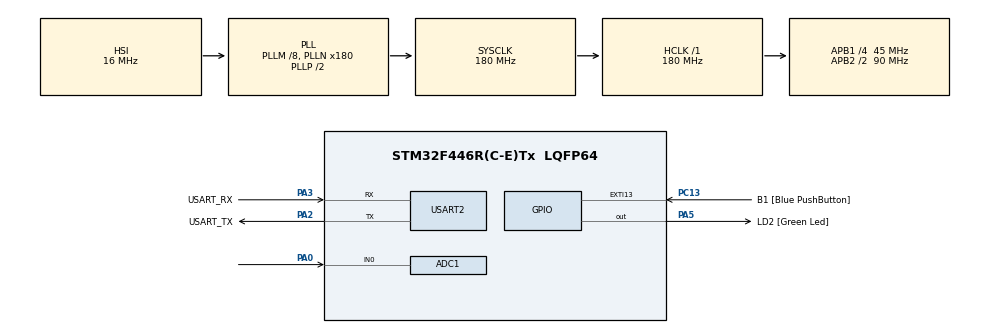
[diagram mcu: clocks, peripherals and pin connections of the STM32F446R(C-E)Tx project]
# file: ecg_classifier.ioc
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ADC1.Channel-1\#ChannelRegularConversion=ADC_CHANNEL_0
ADC1.NbrOfConversionFlag=1
ADC1.Rank-1\#ChannelRegularConversion=1
ADC1.SamplingTime-1\#ChannelRegularConversion=ADC_SAMPLETIME_56CYCLES
ADC1.master=1
Mcu.Family=STM32F4
Mcu.Name=STM32F446R(C-E)Tx
Mcu.Package=LQFP64
NVIC.PriorityGroup=NVIC_PRIORITYGROUP_0
NVIC.TIM2_IRQn=true\:0\:0\:false\:false\:true\:true\:true\:true
PA0-WKUP.Signal=ADCx_IN0
PA13.GPIO_Label=TMS
PA13.Mode=Serial_Wire
PA13.Signal=SYS_JTMS-SWDIO
PA14.GPIO_Label=TCK
PA14.Mode=Serial_Wire
PA14.Signal=SYS_JTCK-SWCLK
PA2.GPIO_Label=USART_TX
PA2.Mode=Asynchronous
PA2.Signal=USART2_TX
PA3.GPIO_Label=USART_RX
PA3.Mode=Asynchronous
PA3.Signal=USART2_RX
PA5.GPIO_Label=LD2 [Green Led]
PA5.Signal=GPIO_Output
PB3.GPIO_Label=SWO
PB3.Signal=SYS_JTDO-SWO
PC13.GPIO_Label=B1 [Blue PushButton]
PC13.GPIO_ModeDefaultEXTI=GPIO_MODE_IT_FALLING
PC13.Signal=GPXTI13
PC14-OSC32_IN.Mode=LSE-External-Oscillator
PC14-OSC32_IN.Signal=RCC_OSC32_IN
PC15-OSC32_OUT.Mode=LSE-External-Oscillator
PC15-OSC32_OUT.Signal=RCC_OSC32_OUT
PH0-OSC_IN.Mode=HSE-External-Oscillator
PH0-OSC_IN.Signal=RCC_OSC_IN
PH1-OSC_OUT.Mode=HSE-External-Oscillator
PH1-OSC_OUT.Signal=RCC_OSC_OUT
ProjectManager.HeapSize=0x800
ProjectManager.StackSize=0x800
ProjectManager.TargetToolchain=STM32CubeIDE
RCC.48MHZClocksFreq_Value=84000000
RCC.AHBFreq_Value=180000000
RCC.APB1CLKDivider=RCC_HCLK_DIV4
RCC.APB1Freq_Value=45000000
RCC.APB1TimFreq_Value=90000000
RCC.APB2CLKDivider=RCC_HCLK_DIV2
RCC.APB2Freq_Value=90000000
RCC.APB2TimFreq_Value=180000000
RCC.CortexFreq_Value=180000000
RCC.FLatency-AdvancedSettings=FLASH_LATENCY_5
RCC.HCLKFreq_Value=180000000
RCC.HSE_VALUE=8000000
RCC.HSI_VALUE=16000000
RCC.PLLM=8
RCC.PLLN=180
RCC.PLLP=2
RCC.SYSCLKFreq_VALUE=180000000
RCC.SYSCLKSource=RCC_SYSCLKSOURCE_PLLCLK
RCC.USBFreq_Value=180000000
RCC.VCOOutputFreq_Value=360000000
SH.ADCx_IN0.0=ADC1_IN0,IN0
STMicroelectronics.X-CUBE-AI.10.2.0.ActivationBufferSizeList=30988
STMicroelectronics.X-CUBE-AI.10.2.0.ActivationBuffers=pool0
STMicroelectronics.X-CUBE-AI.10.2.0.ActivationNames=pool0
STMicroelectronics.X-CUBE-AI.10.2.0.ActivationSizes=AI_NETWORK_DATA_ACTIVATION_1_SIZE
STMicroelectronics.X-CUBE-AI.10.2.0.ApplicationCcDeviceJjApplication=ApplicationTemplate
STMicroelectronics.X-CUBE-AI.10.2.0.HeapSize=0x800
STMicroelectronics.X-CUBE-AI.10.2.0.InternalRamActivationBufferMaxSize=AI_NETWORK_DATA_ACTIVATIONS_SIZE
STMicroelectronics.X-CUBE-AI.10.2.0.LatestDirectoryUsed-63dacd22c9f971d1989176049838c627b8f9a772a81837ebe27244d50796df3d=C\:\\Intel\\ecg-arrhythmia-classifier\\results
STMicroelectronics.X-CUBE-AI.10.2.0.MaximumNumberOfInputLayer=1
STMicroelectronics.X-CUBE-AI.10.2.0.MaximumNumberOfOutputLayer=1
STMicroelectronics.X-CUBE-AI.10.2.0.MaximumSizeOfInputLayer=1
STMicroelectronics.X-CUBE-AI.10.2.0.MaximumSizeOfOutputLayer=1
STMicroelectronics.X-CUBE-AI.10.2.0.ModelActualCompression-63dacd22c9f971d1989176049838c627b8f9a772a81837ebe27244d50796df3d=0.0
STMicroelectronics.X-CUBE-AI.10.2.0.ModelCompression-63dacd22c9f971d1989176049838c627b8f9a772a81837ebe27244d50796df3d=None
STMicroelectronics.X-CUBE-AI.10.2.0.ModelFlashOccupation-63dacd22c9f971d1989176049838c627b8f9a772a81837ebe27244d50796df3d=486656
STMicroelectronics.X-CUBE-AI.10.2.0.ModelHashList=63dacd22c9f971d1989176049838c627b8f9a772a81837ebe27244d50796df3d
STMicroelectronics.X-CUBE-AI.10.2.0.ModelKind-63dacd22c9f971d1989176049838c627b8f9a772a81837ebe27244d50796df3d=ONNX
STMicroelectronics.X-CUBE-AI.10.2.0.ModelMacc-63dacd22c9f971d1989176049838c627b8f9a772a81837ebe27244d50796df3d=5728613
STMicroelectronics.X-CUBE-AI.10.2.0.ModelName-63dacd22c9f971d1989176049838c627b8f9a772a81837ebe27244d50796df3d=network
STMicroelectronics.X-CUBE-AI.10.2.0.ModelNameList=network
STMicroelectronics.X-CUBE-AI.10.2.0.ModelRamOccupation-63dacd22c9f971d1989176049838c627b8f9a772a81837ebe27244d50796df3d=30988
STMicroelectronics.X-CUBE-AI.10.2.0.ModelStructureFile-63dacd22c9f971d1989176049838c627b8f9a772a81837ebe27244d50796df3d=/C\:/Intel/ecg-arrhythmia-classifier/results/ecg_model_v2.onnx
STMicroelectronics.X-CUBE-AI.10.2.0.ModelType-63dacd22c9f971d1989176049838c627b8f9a772a81837ebe27244d50796df3d=STM32Cube.AI MCU runtime
STMicroelectronics.X-CUBE-AI.10.2.0.ReadyForCodeGeneration=true
STMicroelectronics.X-CUBE-AI.10.2.0.StackSize=0x800
STMicroelectronics.X-CUBE-AI.10.2.0.WorkingBufferStartAddrList=0xFFFFFFFF
STMicroelectronics.X-CUBE-AI.10.2.0.XAaCUBEAaAICcArtificialOoIntelligenceJjCore=true
STMicroelectronics.X-CUBE-AI.10.2.0.copyWeightToRam=false
STMicroelectronics.X-CUBE-AI.10.2.0.copyWeightToRam-63dacd22c9f971d1989176049838c627b8f9a772a81837ebe27244d50796df3d=false
STMicroelectronics.X-CUBE-AI.10.2.0.customLayerConfigEnabled=false
STMicroelectronics.X-CUBE-AI.10.2.0.customLayerConfigEnabled-63dacd22c9f971d1989176049838c627b8f9a772a81837ebe27244d50796df3d=false
STMicroelectronics.X-CUBE-AI.10.2.0.noOnnxIoTranspose=false
STMicroelectronics.X-CUBE-AI.10.2.0.noOnnxIoTranspose-63dacd22c9f971d1989176049838c627b8f9a772a81837ebe27244d50796df3d=false
STMicroelectronics.X-CUBE-AI.10.2.0.useInputAllocation=true
STMicroelectronics.X-CUBE-AI.10.2.0.useInputAllocation-63dacd22c9f971d1989176049838c627b8f9a772a81837ebe27244d50796df3d=true
STMicroelectronics.X-CUBE-AI.10.2.0.useOutputAllocation=true
STMicroelectronics.X-CUBE-AI.10.2.0.useOutputAllocation-63dacd22c9f971d1989176049838c627b8f9a772a81837ebe27244d50796df3d=true
TIM2.Period=999
TIM2.Prescaler=249
USART2.VirtualMode=VM_ASYNC
VP_STMicroelectronics.X-CUBE-AI_VS_ArtificialOoIntelligenceJjXAaCUBEAaAI_10.2.0.Mode=ArtificialOoIntelligenceJjXAaCUBEAaAI
VP_STMicroelectronics.X-CUBE-AI_VS_DeviceJjApplication_10.2.0.Mode=DeviceJjApplication
VP_TIM2_VS_ClockSourceINT.Mode=Internal
board=NUCLEO-F446RE

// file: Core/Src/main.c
/* USER CODE BEGIN Header */
/**
  ******************************************************************************
  * @file           : main.c
  * @brief          : Main program body
  ******************************************************************************
  * @attention
  *
  * Copyright (c) 2026 STMicroelectronics.
  * All rights reserved.
  *
  * This software is licensed under terms that can be found in the LICENSE file
  * in the root directory of this software component.
  * If no LICENSE file comes with this software, it is provided AS-IS.
  *
  ******************************************************************************
  */
/* USER CODE END Header */
#include "main.h"
#include "app_x-cube-ai.h"

/* USER CODE BEGIN Includes */
#include <string.h>
#include <stdio.h>
#include <math.h>
/* USER CODE END Includes */

ADC_HandleTypeDef hadc1;

TIM_HandleTypeDef htim2;

UART_HandleTypeDef huart2;

/* USER CODE BEGIN PV */
#define BEAT_SIZE  360
#define BEAT_HALF  180
#define CIRC_SIZE  512
#define CIRC_MASK  (CIRC_SIZE - 1)

float ecg_buffer[BEAT_SIZE];
volatile uint8_t beat_ready = 0;

static float    circ_buf[CIRC_SIZE];
static uint16_t circ_head = 0;

/* Pan-Tompkins state */
static float   pt_d[5];
static float   pt_mwi_buf[30];
static float   pt_mwi_sum        = 0.0f;
static uint8_t pt_mwi_idx        = 0;
static float   pt_threshold      = 0.04f;
static float   pt_peak           = 0.08f;
static float   pt_prev           = 0.0f;
static int16_t pt_refractory     = 0;
static uint8_t r_peak_found      = 0;
static int16_t samples_after_peak = 0;
static uint16_t r_peak_pos       = 0;
/* USER CODE END PV */

void SystemClock_Config(void);
static void MX_GPIO_Init(void);
static void MX_USART2_UART_Init(void);
static void MX_ADC1_Init(void);
static void MX_TIM2_Init(void);

/* USER CODE BEGIN 0 */
void HAL_TIM_PeriodElapsedCallback(TIM_HandleTypeDef *htim)
{
  if (htim->Instance == TIM2)
  {
    HAL_ADC_Start(&hadc1);
    HAL_ADC_PollForConversion(&hadc1, 10);
    float sample = (float)HAL_ADC_GetValue(&hadc1) / 4095.0f;

    circ_buf[circ_head] = sample;

    /* Pan-Tompkins derivative: y = (2x[n] + x[n-1] - x[n-3] - 2x[n-4]) / 8 */
    float deriv = (2.0f*pt_d[0] + pt_d[1] - pt_d[3] - 2.0f*pt_d[4]) / 8.0f;
    pt_d[4] = pt_d[3]; pt_d[3] = pt_d[2];
    pt_d[2] = pt_d[1]; pt_d[1] = pt_d[0];
    pt_d[0] = sample;

    /* Square + 30-sample moving window integration */
    float sq = deriv * deriv;
    pt_mwi_sum += sq - pt_mwi_buf[pt_mwi_idx];
    pt_mwi_buf[pt_mwi_idx] = sq;
    pt_mwi_idx = (pt_mwi_idx + 1) % 30;
    float mwi = pt_mwi_sum / 30.0f;

    if (pt_refractory > 0) pt_refractory--;

    /* R-peak: local maximum above threshold, outside refractory period */
    if (!r_peak_found && !beat_ready)
    {
      if ((pt_prev >= pt_threshold) && (pt_refractory == 0) && (mwi < pt_prev))
      {
        r_peak_found       = 1;
        r_peak_pos         = (circ_head - 1 + CIRC_SIZE) & CIRC_MASK;
        samples_after_peak = 0;
        if (pt_prev > pt_peak) pt_peak = pt_prev;
        pt_threshold  = pt_peak * 0.5f;
        pt_refractory = 72;  /* 200 ms at 360 Hz */
      }
      else if (mwi < pt_threshold)
      {
        pt_threshold -= pt_threshold * 0.008f;  /* slow decay toward noise floor */
      }
    }
    pt_prev = mwi;

    /* After R-peak, wait BEAT_HALF samples then extract centered window */
    if (r_peak_found)
    {
      if (++samples_after_peak >= BEAT_HALF)
      {
        uint16_t start = (r_peak_pos - BEAT_HALF + 1 + CIRC_SIZE) & CIRC_MASK;
        for (int i = 0; i < BEAT_SIZE; i++)
          ecg_buffer[i] = circ_buf[(start + i) & CIRC_MASK];

        /* Z-score normalize — must match training: (beat - mean) / std */
        float mean = 0.0f, std = 0.0f;
        for (int i = 0; i < BEAT_SIZE; i++) mean += ecg_buffer[i];
        mean /= BEAT_SIZE;
        for (int i = 0; i < BEAT_SIZE; i++) { float d = ecg_buffer[i] - mean; std += d * d; }
        std = sqrtf(std / BEAT_SIZE);
        if (std < 1e-6f) std = 1e-6f;
        for (int i = 0; i < BEAT_SIZE; i++) ecg_buffer[i] = (ecg_buffer[i] - mean) / std;

        r_peak_found = 0;
        beat_ready   = 1;
      }
    }

    circ_head = (circ_head + 1) & CIRC_MASK;
  }
}
/* USER CODE END 0 */

int main(void)
{

  /* MCU Configuration--------------------------------------------------------*/

  /* Reset of all peripherals, Initializes the Flash interface and the Systick. */
  HAL_Init();

  /* Configure the system clock */
  SystemClock_Config();

  /* Initialize all configured peripherals */
  MX_GPIO_Init();
  MX_USART2_UART_Init();
  MX_ADC1_Init();
  MX_TIM2_Init();
  MX_X_CUBE_AI_Init();
  /* USER CODE BEGIN 2 */
  HAL_TIM_Base_Start_IT(&htim2);
  /* USER CODE END 2 */

  /* Infinite loop */
  while (1)
  {
    /* USER CODE BEGIN 3 */
    if (beat_ready)
    {
      beat_ready = 0;
      MX_X_CUBE_AI_Process();
    }
  /* USER CODE END 3 */
  }
}

void SystemClock_Config(void)
{
  RCC_OscInitTypeDef RCC_OscInitStruct = {0};
  RCC_ClkInitTypeDef RCC_ClkInitStruct = {0};

  /** Configure the main internal regulator output voltage
  */
  __HAL_RCC_PWR_CLK_ENABLE();
  __HAL_PWR_VOLTAGESCALING_CONFIG(PWR_REGULATOR_VOLTAGE_SCALE1);

  /** Initializes the RCC Oscillators according to the specified parameters
  * in the RCC_OscInitTypeDef structure.
  */
  RCC_OscInitStruct.OscillatorType = RCC_OSCILLATORTYPE_HSI;
  RCC_OscInitStruct.HSIState = RCC_HSI_ON;
  RCC_OscInitStruct.HSICalibrationValue = RCC_HSICALIBRATION_DEFAULT;
  RCC_OscInitStruct.PLL.PLLState = RCC_PLL_ON;
  RCC_OscInitStruct.PLL.PLLSource = RCC_PLLSOURCE_HSI;
  RCC_OscInitStruct.PLL.PLLM = 8;
  RCC_OscInitStruct.PLL.PLLN = 180;
  RCC_OscInitStruct.PLL.PLLP = 2;
  RCC_OscInitStruct.PLL.PLLQ = 2;
  RCC_OscInitStruct.PLL.PLLR = 2;
  if (HAL_RCC_OscConfig(&RCC_OscInitStruct) != HAL_OK)
  {
    Error_Handler();
  }

  /** Activate the Over-Drive mode
  */
  if (HAL_PWREx_EnableOverDrive() != HAL_OK)
  {
    Error_Handler();
  }

  /** Initializes the CPU, AHB and APB buses clocks
  */
  RCC_ClkInitStruct.ClockType = RCC_CLOCKTYPE_HCLK|RCC_CLOCKTYPE_SYSCLK
                              |RCC_CLOCKTYPE_PCLK1|RCC_CLOCKTYPE_PCLK2;
  RCC_ClkInitStruct.SYSCLKSource = RCC_SYSCLKSOURCE_PLLCLK;
  RCC_ClkInitStruct.AHBCLKDivider = RCC_SYSCLK_DIV1;
  RCC_ClkInitStruct.APB1CLKDivider = RCC_HCLK_DIV4;
  RCC_ClkInitStruct.APB2CLKDivider = RCC_HCLK_DIV2;

  if (HAL_RCC_ClockConfig(&RCC_ClkInitStruct, FLASH_LATENCY_5) != HAL_OK)
  {
    Error_Handler();
  }
}

static void MX_ADC1_Init(void)
{

  ADC_ChannelConfTypeDef sConfig = {0};

  /** Configure the global features of the ADC (Clock, Resolution, Data Alignment and number of conversion)
  */
  hadc1.Instance = ADC1;
  hadc1.Init.ClockPrescaler = ADC_CLOCK_SYNC_PCLK_DIV4;
  hadc1.Init.Resolution = ADC_RESOLUTION_12B;
  hadc1.Init.ScanConvMode = DISABLE;
  hadc1.Init.ContinuousConvMode = DISABLE;
  hadc1.Init.DiscontinuousConvMode = DISABLE;
  hadc1.Init.ExternalTrigConvEdge = ADC_EXTERNALTRIGCONVEDGE_NONE;
  hadc1.Init.ExternalTrigConv = ADC_SOFTWARE_START;
  hadc1.Init.DataAlign = ADC_DATAALIGN_RIGHT;
  hadc1.Init.NbrOfConversion = 1;
  hadc1.Init.DMAContinuousRequests = DISABLE;
  hadc1.Init.EOCSelection = ADC_EOC_SINGLE_CONV;
  if (HAL_ADC_Init(&hadc1) != HAL_OK)
  {
    Error_Handler();
  }

  /** Configure for the selected ADC regular channel its corresponding rank in the sequencer and its sample time.
  */
  sConfig.Channel = ADC_CHANNEL_0;
  sConfig.Rank = 1;
  sConfig.SamplingTime = ADC_SAMPLETIME_56CYCLES;
  if (HAL_ADC_ConfigChannel(&hadc1, &sConfig) != HAL_OK)
  {
    Error_Handler();
  }

}

static void MX_TIM2_Init(void)
{

  TIM_ClockConfigTypeDef sClockSourceConfig = {0};
  TIM_MasterConfigTypeDef sMasterConfig = {0};

  htim2.Instance = TIM2;
  htim2.Init.Prescaler = 249;
  htim2.Init.CounterMode = TIM_COUNTERMODE_UP;
  htim2.Init.Period = 999;
  htim2.Init.ClockDivision = TIM_CLOCKDIVISION_DIV1;
  htim2.Init.AutoReloadPreload = TIM_AUTORELOAD_PRELOAD_DISABLE;
  if (HAL_TIM_Base_Init(&htim2) != HAL_OK)
  {
    Error_Handler();
  }
  sClockSourceConfig.ClockSource = TIM_CLOCKSOURCE_INTERNAL;
  if (HAL_TIM_ConfigClockSource(&htim2, &sClockSourceConfig) != HAL_OK)
  {
    Error_Handler();
  }
  sMasterConfig.MasterOutputTrigger = TIM_TRGO_RESET;
  sMasterConfig.MasterSlaveMode = TIM_MASTERSLAVEMODE_DISABLE;
  if (HAL_TIMEx_MasterConfigSynchronization(&htim2, &sMasterConfig) != HAL_OK)
  {
    Error_Handler();
  }

}

static void MX_USART2_UART_Init(void)
{

  huart2.Instance = USART2;
  huart2.Init.BaudRate = 115200;
  huart2.Init.WordLength = UART_WORDLENGTH_8B;
  huart2.Init.StopBits = UART_STOPBITS_1;
  huart2.Init.Parity = UART_PARITY_NONE;
  huart2.Init.Mode = UART_MODE_TX_RX;
  huart2.Init.HwFlowCtl = UART_HWCONTROL_NONE;
  huart2.Init.OverSampling = UART_OVERSAMPLING_16;
  if (HAL_UART_Init(&huart2) != HAL_OK)
  {
    Error_Handler();
  }

}

static void MX_GPIO_Init(void)
{
  GPIO_InitTypeDef GPIO_InitStruct = {0};

  /* GPIO Ports Clock Enable */
  __HAL_RCC_GPIOC_CLK_ENABLE();
  __HAL_RCC_GPIOH_CLK_ENABLE();
  __HAL_RCC_GPIOA_CLK_ENABLE();
  __HAL_RCC_GPIOB_CLK_ENABLE();

  /*Configure GPIO pin Output Level */
  HAL_GPIO_WritePin(LD2_GPIO_Port, LD2_Pin, GPIO_PIN_RESET);

  /*Configure GPIO pin : B1_Pin */
  GPIO_InitStruct.Pin = B1_Pin;
  GPIO_InitStruct.Mode = GPIO_MODE_IT_FALLING;
  GPIO_InitStruct.Pull = GPIO_NOPULL;
  HAL_GPIO_Init(B1_GPIO_Port, &GPIO_InitStruct);

  /*Configure GPIO pin : LD2_Pin */
  GPIO_InitStruct.Pin = LD2_Pin;
  GPIO_InitStruct.Mode = GPIO_MODE_OUTPUT_PP;
  GPIO_InitStruct.Pull = GPIO_NOPULL;
  GPIO_InitStruct.Speed = GPIO_SPEED_FREQ_LOW;
  HAL_GPIO_Init(LD2_GPIO_Port, &GPIO_InitStruct);

}

void Error_Handler(void)
{
  __disable_irq();
  while (1)
  {
  }
}
